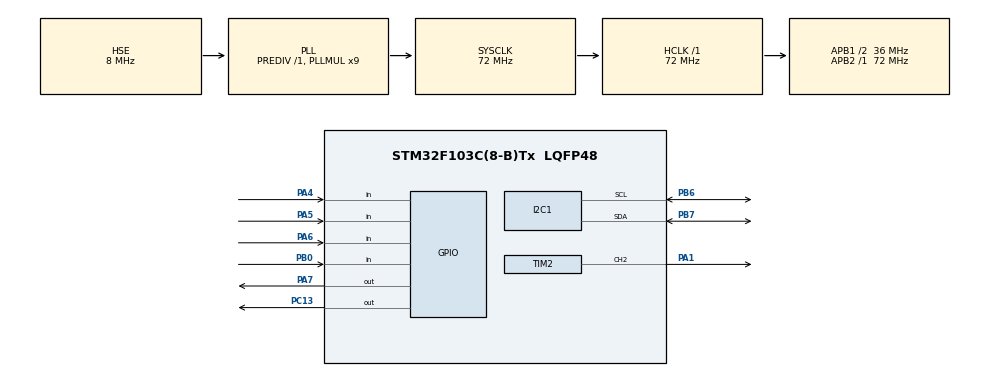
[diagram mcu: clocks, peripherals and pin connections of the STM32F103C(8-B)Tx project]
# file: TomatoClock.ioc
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Mcu.Family=STM32F1
Mcu.Name=STM32F103C(8-B)Tx
Mcu.Package=LQFP48
NVIC.PriorityGroup=NVIC_PRIORITYGROUP_4
PA1.Signal=S_TIM2_CH2
PA13.Mode=Serial_Wire
PA13.Signal=SYS_JTMS-SWDIO
PA14.Mode=Serial_Wire
PA14.Signal=SYS_JTCK-SWCLK
PA4.Signal=GPIO_Input
PA5.Signal=GPIO_Input
PA6.Signal=GPIO_Input
PA7.Signal=GPIO_Output
PB0.Signal=GPIO_Input
PB6.Mode=I2C
PB6.Signal=I2C1_SCL
PB7.Mode=I2C
PB7.Signal=I2C1_SDA
PC13-TAMPER-RTC.Signal=GPIO_Output
PC14-OSC32_IN.Mode=LSE-External-Oscillator
PC14-OSC32_IN.Signal=RCC_OSC32_IN
PC15-OSC32_OUT.Mode=LSE-External-Oscillator
PC15-OSC32_OUT.Signal=RCC_OSC32_OUT
PD0-OSC_IN.Mode=HSE-External-Oscillator
PD0-OSC_IN.Signal=RCC_OSC_IN
PD1-OSC_OUT.Mode=HSE-External-Oscillator
PD1-OSC_OUT.Signal=RCC_OSC_OUT
ProjectManager.HeapSize=0x200
ProjectManager.StackSize=0x400
ProjectManager.TargetToolchain=STM32CubeIDE
RCC.AHBFreq_Value=72000000
RCC.APB1CLKDivider=RCC_HCLK_DIV2
RCC.APB1Freq_Value=36000000
RCC.APB1TimFreq_Value=72000000
RCC.APB2Freq_Value=72000000
RCC.APB2TimFreq_Value=72000000
RCC.HCLKFreq_Value=72000000
RCC.PLLMUL=RCC_PLL_MUL9
RCC.PLLSourceVirtual=RCC_PLLSOURCE_HSE
RCC.RTCClockSelection=RCC_RTCCLKSOURCE_LSE
RCC.SYSCLKFreq_VALUE=72000000
RCC.SYSCLKSource=RCC_SYSCLKSOURCE_PLLCLK
RCC.USBFreq_Value=72000000
RTC.Date=16
RTC.Hours=21
RTC.Minutes=45
RTC.WeekDay=RTC_WEEKDAY_SUNDAY
RTC.Year=22
SH.S_TIM2_CH2.0=TIM2_CH2,PWM Generation2 CH2
TIM2.Channel-PWM\ Generation2\ CH2=TIM_CHANNEL_2
VP_RTC_VS_RTC_Activate.Mode=RTC_Enabled
VP_RTC_VS_RTC_Calendar.Mode=RTC_Calendar
VP_TIM2_VS_ClockSourceINT.Mode=Internal
board=custom

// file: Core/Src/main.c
/* USER CODE BEGIN Header */
/**
  ******************************************************************************
  * @file           : main.c
  * @brief          : Main program body
  ******************************************************************************
  * @attention
  *
  * Copyright (c) 2022 STMicroelectronics.
  * All rights reserved.
  *
  * This software is licensed under terms that can be found in the LICENSE file
  * in the root directory of this software component.
  * If no LICENSE file comes with this software, it is provided AS-IS.
  *
  ******************************************************************************
  */
/* USER CODE END Header */
#include "main.h"

/* USER CODE BEGIN Includes */
#include "oled.h"
#include "rtc.h"
/* USER CODE END Includes */

I2C_HandleTypeDef hi2c1;

RTC_HandleTypeDef hrtc;

TIM_HandleTypeDef htim2;

void SystemClock_Config(void);
static void MX_GPIO_Init(void);
static void MX_I2C1_Init(void);
static void MX_RTC_Init(void);
static void MX_TIM2_Init(void);

int main(void)
{

  /* MCU Configuration--------------------------------------------------------*/

  /* Reset of all peripherals, Initializes the Flash interface and the Systick. */
  HAL_Init();

  /* USER CODE BEGIN Init */
  // Had better delay for some time here.
  HAL_Delay(100);
  /* USER CODE END Init */

  /* Configure the system clock */
  SystemClock_Config();

  /* Initialize all configured peripherals */
  MX_GPIO_Init();
  MX_I2C1_Init();
  MX_RTC_Init();
  MX_TIM2_Init();
  /* USER CODE BEGIN 2 */
  // Show the running status.
  HAL_GPIO_WritePin(GPIOC, GPIO_PIN_13, 1);

  // Initialize u8g2
  u8g2_t u8g2;
  u8g2Init(&u8g2);
  u8g2_SetFont(&u8g2, u8g2_font_unifont_t_latin);
  u8g2_DrawStr(&u8g2, 0, 12, "Loading...");

  char datetimestr[15];
  char daystr[33];
  /* USER CODE END 2 */

  /* Infinite loop */
  /* USER CODE BEGIN WHILE */
  while (1)
  {
	u8g2_SetFont(&u8g2, u8g2_font_unifont_t_latin);
	u8g2_ClearBuffer(&u8g2);
	getDateTime(hrtc, datetimestr);
	getDay(hrtc, daystr);
	u8g2_DrawStr(&u8g2, 8, 11, datetimestr);
	u8g2_SetFont(&u8g2, u8g2_font_unifont_t_chinese2);
	u8g2_DrawUTF8(&u8g2, 0, 33, daystr);
	u8g2_SendBuffer(&u8g2);
	HAL_Delay(1000);
  }
    /* USER CODE END WHILE */

}

void SystemClock_Config(void)
{
  RCC_OscInitTypeDef RCC_OscInitStruct = {0};
  RCC_ClkInitTypeDef RCC_ClkInitStruct = {0};
  RCC_PeriphCLKInitTypeDef PeriphClkInit = {0};

  /** Initializes the RCC Oscillators according to the specified parameters
  * in the RCC_OscInitTypeDef structure.
  */
  RCC_OscInitStruct.OscillatorType = RCC_OSCILLATORTYPE_HSE|RCC_OSCILLATORTYPE_LSE;
  RCC_OscInitStruct.HSEState = RCC_HSE_ON;
  RCC_OscInitStruct.HSEPredivValue = RCC_HSE_PREDIV_DIV1;
  RCC_OscInitStruct.LSEState = RCC_LSE_ON;
  RCC_OscInitStruct.HSIState = RCC_HSI_ON;
  RCC_OscInitStruct.PLL.PLLState = RCC_PLL_ON;
  RCC_OscInitStruct.PLL.PLLSource = RCC_PLLSOURCE_HSE;
  RCC_OscInitStruct.PLL.PLLMUL = RCC_PLL_MUL9;
  if (HAL_RCC_OscConfig(&RCC_OscInitStruct) != HAL_OK)
  {
    Error_Handler();
  }
  /** Initializes the CPU, AHB and APB buses clocks
  */
  RCC_ClkInitStruct.ClockType = RCC_CLOCKTYPE_HCLK|RCC_CLOCKTYPE_SYSCLK
                              |RCC_CLOCKTYPE_PCLK1|RCC_CLOCKTYPE_PCLK2;
  RCC_ClkInitStruct.SYSCLKSource = RCC_SYSCLKSOURCE_PLLCLK;
  RCC_ClkInitStruct.AHBCLKDivider = RCC_SYSCLK_DIV1;
  RCC_ClkInitStruct.APB1CLKDivider = RCC_HCLK_DIV2;
  RCC_ClkInitStruct.APB2CLKDivider = RCC_HCLK_DIV1;

  if (HAL_RCC_ClockConfig(&RCC_ClkInitStruct, FLASH_LATENCY_2) != HAL_OK)
  {
    Error_Handler();
  }
  PeriphClkInit.PeriphClockSelection = RCC_PERIPHCLK_RTC;
  PeriphClkInit.RTCClockSelection = RCC_RTCCLKSOURCE_LSE;
  if (HAL_RCCEx_PeriphCLKConfig(&PeriphClkInit) != HAL_OK)
  {
    Error_Handler();
  }
}

static void MX_I2C1_Init(void)
{

  hi2c1.Instance = I2C1;
  hi2c1.Init.ClockSpeed = 100000;
  hi2c1.Init.DutyCycle = I2C_DUTYCYCLE_2;
  hi2c1.Init.OwnAddress1 = 0;
  hi2c1.Init.AddressingMode = I2C_ADDRESSINGMODE_7BIT;
  hi2c1.Init.DualAddressMode = I2C_DUALADDRESS_DISABLE;
  hi2c1.Init.OwnAddress2 = 0;
  hi2c1.Init.GeneralCallMode = I2C_GENERALCALL_DISABLE;
  hi2c1.Init.NoStretchMode = I2C_NOSTRETCH_DISABLE;
  if (HAL_I2C_Init(&hi2c1) != HAL_OK)
  {
    Error_Handler();
  }

}

static void MX_RTC_Init(void)
{

  RTC_TimeTypeDef sTime = {0};
  RTC_DateTypeDef DateToUpdate = {0};

  /** Initialize RTC Only
  */
  hrtc.Instance = RTC;
  hrtc.Init.AsynchPrediv = RTC_AUTO_1_SECOND;
  hrtc.Init.OutPut = RTC_OUTPUTSOURCE_ALARM;
  if (HAL_RTC_Init(&hrtc) != HAL_OK)
  {
    Error_Handler();
  }

  /** Initialize RTC and set the Time and Date
  */
  sTime.Hours = 0x21;
  sTime.Minutes = 0x45;
  sTime.Seconds = 0x0;

  if (HAL_RTC_SetTime(&hrtc, &sTime, RTC_FORMAT_BCD) != HAL_OK)
  {
    Error_Handler();
  }
  DateToUpdate.WeekDay = RTC_WEEKDAY_SUNDAY;
  DateToUpdate.Month = RTC_MONTH_JANUARY;
  DateToUpdate.Date = 0x16;
  DateToUpdate.Year = 0x22;

  if (HAL_RTC_SetDate(&hrtc, &DateToUpdate, RTC_FORMAT_BCD) != HAL_OK)
  {
    Error_Handler();
  }

}

static void MX_TIM2_Init(void)
{

  TIM_ClockConfigTypeDef sClockSourceConfig = {0};
  TIM_MasterConfigTypeDef sMasterConfig = {0};
  TIM_OC_InitTypeDef sConfigOC = {0};

  htim2.Instance = TIM2;
  htim2.Init.Prescaler = 0;
  htim2.Init.CounterMode = TIM_COUNTERMODE_UP;
  htim2.Init.Period = 65535;
  htim2.Init.ClockDivision = TIM_CLOCKDIVISION_DIV1;
  htim2.Init.AutoReloadPreload = TIM_AUTORELOAD_PRELOAD_DISABLE;
  if (HAL_TIM_Base_Init(&htim2) != HAL_OK)
  {
    Error_Handler();
  }
  sClockSourceConfig.ClockSource = TIM_CLOCKSOURCE_INTERNAL;
  if (HAL_TIM_ConfigClockSource(&htim2, &sClockSourceConfig) != HAL_OK)
  {
    Error_Handler();
  }
  if (HAL_TIM_PWM_Init(&htim2) != HAL_OK)
  {
    Error_Handler();
  }
  sMasterConfig.MasterOutputTrigger = TIM_TRGO_RESET;
  sMasterConfig.MasterSlaveMode = TIM_MASTERSLAVEMODE_DISABLE;
  if (HAL_TIMEx_MasterConfigSynchronization(&htim2, &sMasterConfig) != HAL_OK)
  {
    Error_Handler();
  }
  sConfigOC.OCMode = TIM_OCMODE_PWM1;
  sConfigOC.Pulse = 0;
  sConfigOC.OCPolarity = TIM_OCPOLARITY_HIGH;
  sConfigOC.OCFastMode = TIM_OCFAST_DISABLE;
  if (HAL_TIM_PWM_ConfigChannel(&htim2, &sConfigOC, TIM_CHANNEL_2) != HAL_OK)
  {
    Error_Handler();
  }
  HAL_TIM_MspPostInit(&htim2);

}

static void MX_GPIO_Init(void)
{
  GPIO_InitTypeDef GPIO_InitStruct = {0};

  /* GPIO Ports Clock Enable */
  __HAL_RCC_GPIOC_CLK_ENABLE();
  __HAL_RCC_GPIOD_CLK_ENABLE();
  __HAL_RCC_GPIOA_CLK_ENABLE();
  __HAL_RCC_GPIOB_CLK_ENABLE();

  /*Configure GPIO pin Output Level */
  HAL_GPIO_WritePin(GPIOC, GPIO_PIN_13, GPIO_PIN_RESET);

  /*Configure GPIO pin Output Level */
  HAL_GPIO_WritePin(GPIOA, GPIO_PIN_7, GPIO_PIN_RESET);

  /*Configure GPIO pin : PC13 */
  GPIO_InitStruct.Pin = GPIO_PIN_13;
  GPIO_InitStruct.Mode = GPIO_MODE_OUTPUT_PP;
  GPIO_InitStruct.Pull = GPIO_NOPULL;
  GPIO_InitStruct.Speed = GPIO_SPEED_FREQ_LOW;
  HAL_GPIO_Init(GPIOC, &GPIO_InitStruct);

  /*Configure GPIO pins : PA4 PA5 PA6 */
  GPIO_InitStruct.Pin = GPIO_PIN_4|GPIO_PIN_5|GPIO_PIN_6;
  GPIO_InitStruct.Mode = GPIO_MODE_INPUT;
  GPIO_InitStruct.Pull = GPIO_NOPULL;
  HAL_GPIO_Init(GPIOA, &GPIO_InitStruct);

  /*Configure GPIO pin : PA7 */
  GPIO_InitStruct.Pin = GPIO_PIN_7;
  GPIO_InitStruct.Mode = GPIO_MODE_OUTPUT_PP;
  GPIO_InitStruct.Pull = GPIO_NOPULL;
  GPIO_InitStruct.Speed = GPIO_SPEED_FREQ_LOW;
  HAL_GPIO_Init(GPIOA, &GPIO_InitStruct);

  /*Configure GPIO pin : PB0 */
  GPIO_InitStruct.Pin = GPIO_PIN_0;
  GPIO_InitStruct.Mode = GPIO_MODE_INPUT;
  GPIO_InitStruct.Pull = GPIO_NOPULL;
  HAL_GPIO_Init(GPIOB, &GPIO_InitStruct);

}

void Error_Handler(void)
{
  __disable_irq();
  while (1)
  {
  }
}
